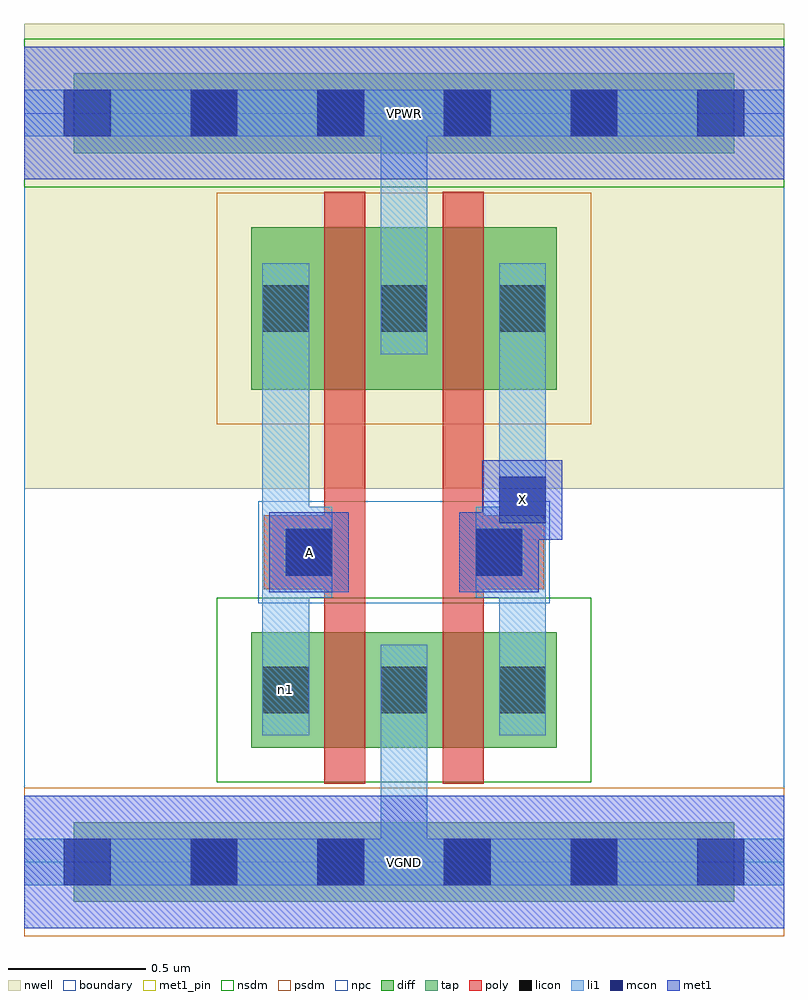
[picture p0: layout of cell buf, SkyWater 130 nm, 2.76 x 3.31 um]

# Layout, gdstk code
import gdstk
lib = gdstk.Library(unit=1e-6, precision=1e-09)
def R(c, l, rs):  # rectangles x0, y0, x1, y1
    for r in rs: c.add(gdstk.rectangle(r[:2], r[2:], *l))
def A(c, l, x, y, w, h, nx, ny, dx, dy):  # array of equal rectangles
    R(c, l, [(x+i*dx, y+j*dy, x+i*dx+w, y+j*dy+h) for i in range(nx) for j in range(ny)])
nwell = (64, 20)
diff = (65, 20)
tap = (65, 44)
poly = (66, 20)
licon = (66, 44)
li1 = (67, 20)
mcon = (67, 44)
met1_pin = (68, 16)
met1 = (68, 20)
nsdm = (93, 44)
psdm = (94, 20)
npc = (95, 20)
boundary = (235, 4)

buf = lib.new_cell('buf')
R(buf, nwell, [(0,1.355,2.76,3.045)])
R(buf, diff, [(0.825,0.415,1.935,0.835), (0.825,1.715,1.935,2.305)])
R(buf, tap, [(0.18,-0.145,2.58,0.145), (0.18,2.575,2.58,2.865)])
R(buf, poly, [(1.09,0.285,1.24,2.435), (1.52,0.285,1.67,2.435), (0.87,0.99,1.2,1.26), (1.56,0.99,1.89,1.26)])
A(buf, licon, 0.605, -0.085, 0.17, 0.17, 4, 2, 0.46, 2.72)
A(buf, licon, 0.865, 0.54, 0.17, 0.17, 3, 2, 0.43, 1.385)
R(buf, licon, [(0.95,1.04,1.12,1.21), (1.64,1.04,1.81,1.21)])
A(buf, li1, 0.865, 0.46, 0.17, 0.33, 3, 2, 0.43, 1.385)
R(buf, li1, [(0,-0.085,2.76,0.085), (1.295,-0.085,1.465,0.79), (0.865,0.46,1.035,2.175), (1.725,0.46,1.895,2.175), (0.95,0.96,1.12,1.29), (1.64,0.96,1.81,1.29), (1.295,1.845,1.465,2.805), (0,2.635,2.76,2.805)])
A(buf, mcon, 0.145, -0.085, 0.17, 0.17, 6, 2, 0.46, 2.72)
R(buf, mcon, [(0.95,1.04,1.12,1.21), (1.64,1.04,1.81,1.21), (1.725,1.23,1.895,1.4)])
R(buf, met1_pin, [(0,-0.24,2.76,0.24), (0.89,0.98,1.18,1.27), (1.665,1.17,1.955,1.46), (0,2.48,2.76,2.96)])
R(buf, met1, [(0,-0.24,2.76,0.24), (0.89,0.98,1.18,1.27), (1.58,0.98,1.87,1.27), (1.665,1.17,1.955,1.46), (0,2.48,2.76,2.96)])
R(buf, nsdm, [(0.7,0.29,2.06,0.96), (0,2.45,2.76,2.99)])
R(buf, psdm, [(0,-0.27,2.76,0.27), (0.7,1.59,2.06,2.43)])
R(buf, npc, [(0.85,0.94,1.91,1.31)])
R(buf, boundary, [(0,0,2.76,2.72)])
buf.add(gdstk.Label('n1', (0.95,0.625), layer=67, texttype=5))
buf.add(gdstk.Label('A', (1.035,1.125), layer=68, texttype=5))
buf.add(gdstk.Label('X', (1.81,1.315), layer=68, texttype=5))
buf.add(gdstk.Label('VPWR', (1.38,2.72), layer=68, texttype=5))
buf.add(gdstk.Label('VGND', (1.38,0), layer=68, texttype=5))
buf.add(gdstk.Label('A', (1.035,1.125), layer=68, texttype=16))
buf.add(gdstk.Label('X', (1.81,1.315), layer=68, texttype=16))
buf.add(gdstk.Label('VPWR', (1.38,2.72), layer=68, texttype=16))
buf.add(gdstk.Label('VGND', (1.38,0), layer=68, texttype=16))

lib.write_gds('buf.gds')
